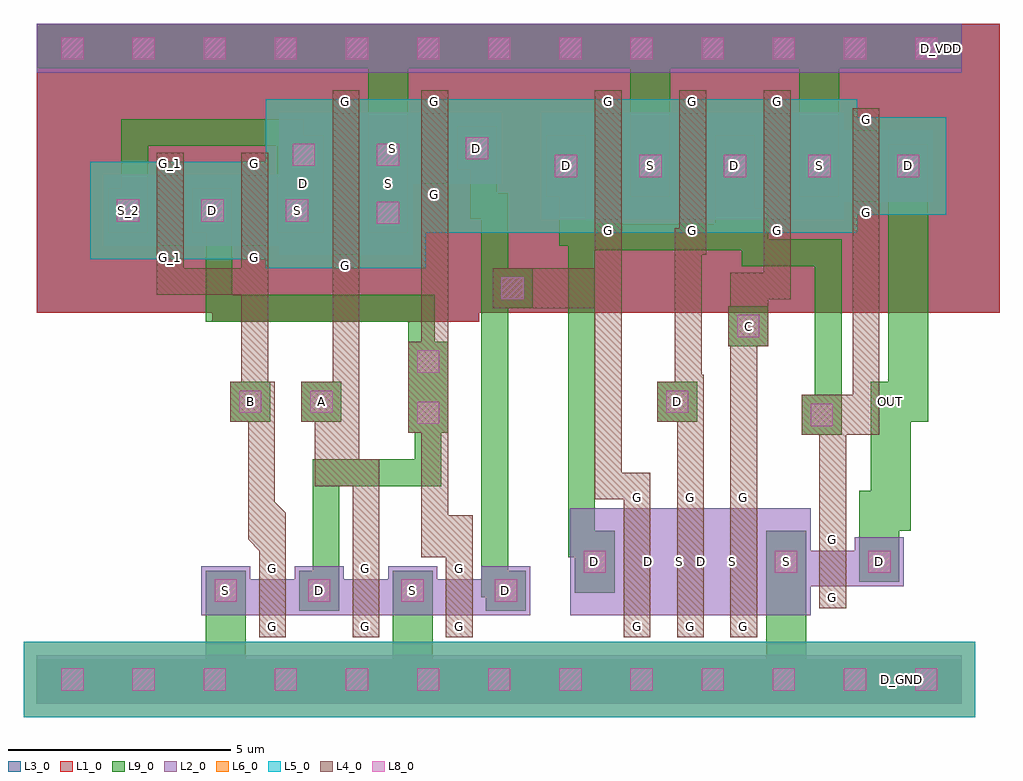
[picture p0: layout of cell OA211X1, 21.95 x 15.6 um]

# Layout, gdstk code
import gdstk
lib = gdstk.Library(unit=1e-6, precision=1e-09)
def R(c, l, rs):  # rectangles x0, y0, x1, y1
    for r in rs: c.add(gdstk.rectangle(r[:2], r[2:], *l))
def A(c, l, x, y, w, h, nx, ny, dx, dy):  # array of equal rectangles
    R(c, l, [(x+i*dx, y+j*dy, x+i*dx+w, y+j*dy+h) for i in range(nx) for j in range(ny)])
def P(c, l, *ps):  # polygons
    for p in ps: c.add(gdstk.Polygon(p, *l))
L1_0 = (1, 0)
L2_0 = (2, 0)
L3_0 = (3, 0)
L4_0 = (4, 0)
L5_0 = (5, 0)
L6_0 = (6, 0)
L8_0 = (8, 0)
L9_0 = (9, 0)

oa211x1 = lib.new_cell('OA211X1')
A(oa211x1, L1_0, 0, 8.8, 1.6, 6.5, 13, 1, 1.6, 0)
A(oa211x1, L1_0, 9.85, 9.4, 6, 5.4, 3, 1, 1.9, 0)
R(oa211x1, L1_0, [(3.95,8.6,9.95,14.8), (0,8.8,7.9,13.4), (20.8,8.8,21.65,15.3), (15.65,9.8,21.65,14.4), (5.95,10.2,11.95,14.8)])
A(oa211x1, L2_0, 0, 0, 1.6, 1.1, 13, 2, 1.6, 14.2)
A(oa211x1, L2_0, 4.8, 2, 1, 0.8, 3, 1, 2.1, 0)
A(oa211x1, L2_0, 13.1, 2, 0.8, 2.4, 3, 1, 1.2, 0)
A(oa211x1, L2_0, 1.5, 10.3, 1.1, 1.6, 3, 1, 1.9, 0)
A(oa211x1, L2_0, 12.45, 10.9, 0.8, 2.4, 3, 1, 1.9, 0)
R(oa211x1, L2_0, [(3.7,2,4.8,3.1), (5.8,2,6.9,3.1), (5.8,2,6.9,3.1), (7.9,2,9,3.1), (7.9,2,9,3.1), (10,2,11.1,3.1), (12,2,13.1,4.4), (13.2,2,14.3,4.4), (13.9,2,15,4.4), (14.4,2,15.5,4.4), (15.1,2,16.2,4.4), (16.3,2,17.4,4.4), (16.3,2.65,17.4,3.75), (17.4,2.65,18.4,3.45), (18.4,2.65,19.5,3.75), (5.45,10.1,6.55,13.3), (6.55,10.1,7.35,13.3), (7.35,10.1,8.45,13.3), (2.6,10.3,3.4,11.9), (4.5,10.3,5.3,11.9), (11.35,10.9,12.45,13.3), (13.25,10.9,14.35,13.3), (13.25,10.9,14.35,13.3), (15.15,10.9,16.25,13.3), (15.15,10.9,16.25,13.3), (17.05,10.9,18.15,13.3), (17.15,11.3,18.25,12.9), (18.25,11.3,19.05,12.9), (19.05,11.3,20.15,12.9), (7.45,11.7,8.55,13.3), (8.55,11.7,9.35,13.3), (9.35,11.7,10.45,13.3)])
A(oa211x1, L3_0, 0, 8.8, 1.6, 6.5, 13, 1, 1.6, 0)
A(oa211x1, L3_0, 9.85, 9.4, 6, 5.4, 3, 1, 1.9, 0)
R(oa211x1, L3_0, [(3.95,8.6,9.95,14.8), (0,8.8,7.9,13.4), (20.8,8.8,21.65,15.3), (15.65,9.8,21.65,14.4), (5.95,10.2,11.95,14.8)])
A(oa211x1, L4_0, 5, 1.5, 0.6, 0.5, 3, 2, 2.1, 1.3)
A(oa211x1, L4_0, 5, 1.5, 0.6, 1.8, 3, 1, 2.1, 0)
A(oa211x1, L4_0, 13.2, 1.5, 0.6, 3.4, 3, 1, 1.2, 0)
A(oa211x1, L4_0, 13.2, 1.5, 0.6, 0.5, 3, 2, 1.2, 2.9)
A(oa211x1, L4_0, 12.55, 10.4, 0.6, 3.4, 3, 1, 1.9, 0)
A(oa211x1, L4_0, 12.55, 10.4, 0.6, 0.5, 3, 2, 1.9, 2.9)
R(oa211x1, L4_0, [(17.6,2.15,18.2,2.65), (17.6,2.15,18.2,3.95), (17.6,3.45,18.2,3.95), (17.6,3.95,18.2,6.35), (6.65,5.35,7.25,9.6), (17.2,6.05,18.1,6.95), (18.1,6.05,18.35,6.95), (18.35,6.05,18.95,9.8), (8.35,6.1,9.25,7), (4.35,6.35,5.25,7.25), (5.95,6.35,6.85,7.25), (13.95,6.35,14.85,7.25), (8.35,7,8.65,7.25), (8.35,7.25,9.25,8.15), (15.55,8.05,16.45,8.95), (10.25,8.9,11.15,9.8), (11.15,8.9,12.8,9.8), (16.2,8.95,16.45,9.1), (16.35,9.3,16.95,10.55), (6.65,9.6,7.25,10.1), (6.65,9.6,7.25,13.8), (2.7,9.8,3.3,10.3), (2.7,9.8,3.3,12.4), (4.6,9.8,5.2,10.3), (4.6,9.8,5.2,12.4), (18.35,9.8,18.95,10.9), (18.35,10.8,18.95,11.3), (18.35,10.8,18.95,13.4), (8.65,11.2,9.25,11.7), (8.65,11.2,9.25,13.8), (2.7,11.9,3.3,12.4), (4.6,11.9,5.2,12.4), (18.35,12.9,18.95,13.4), (6.65,13.3,7.25,13.8), (8.65,13.3,9.25,13.8)])
P(oa211x1, L4_0, [(4.75,3.7),(5,3.45),(5,3.7)],
  [(5.6,4.3),(5.35,4.55),(5.35,4.3)],
  [(8.65,3.3),(9.8,3.3),(9.8,4.25),(9.25,4.25),(9.25,11.2),(8.65,11.2)],
  [(15.6,4.9),(16.2,4.9),(16.2,9.1),(16.95,9.1),(16.95,9.7),(15.6,9.7)],
  [(12.55,4.6),(13.8,4.6),(13.8,5.2),(13.15,5.2),(13.15,10.6),(12.55,10.6)],
  [(14.35,6.8),(14.4,6.8),(14.4,4.9),(15,4.9),(15,7.4),(14.95,7.4),(14.95,10.1),(15.05,10.1),(15.05,10.7),(14.35,10.7)],
  [(6.25,4.9),(7.1,4.9),(7.1,3.3),(7.7,3.3),(7.7,5.5),(6.85,5.5),(6.85,7.25),(6.25,7.25)],
  [(4.75,3.7),(5,3.7),(5,3.3),(5.6,3.3),(5.6,4.3),(5.35,4.3),(5.35,7.25),(4.75,7.25)],
  [(2.7,9.2),(4.6,9.2),(4.6,7.25),(5.2,7.25),(5.2,9.8),(2.7,9.8)])
A(oa211x1, L5_0, 1.6, -0.3, 1.6, 1.7, 11, 1, 1.6, 0)
A(oa211x1, L5_0, 11.05, 10.6, 3.6, 3, 3, 1, 1.9, 0)
R(oa211x1, L5_0, [(-0.3,-0.3,1.6,1.4), (19.2,-0.3,21.1,1.4), (5.15,9.8,8.75,13.6), (1.2,10,6.7,12.2), (16.85,11,20.45,13.2), (7.15,11.4,10.75,13.6)])
P(oa211x1, L5_0, [(11.05,13.6),(10.75,13.6),(10.75,11.4),(8.75,11.4),(8.75,10.6),(11.05,10.6)])
A(oa211x1, L6_0, 1.6, -0.3, 1.6, 1.7, 11, 1, 1.6, 0)
A(oa211x1, L6_0, 11.05, 10.6, 3.6, 3, 3, 1, 1.9, 0)
R(oa211x1, L6_0, [(-0.3,-0.3,1.6,1.4), (19.2,-0.3,21.1,1.4), (5.15,9.8,8.75,13.6), (1.2,10,6.7,12.2), (16.85,11,20.45,13.2), (7.15,11.4,10.75,13.6)])
P(oa211x1, L6_0, [(11.05,13.6),(10.75,13.6),(10.75,11.4),(8.75,11.4),(8.75,10.6),(11.05,10.6)])
A(oa211x1, L8_0, 0.55, 0.3, 0.5, 0.5, 13, 2, 1.6, 14.2)
A(oa211x1, L8_0, 1.8, 10.85, 0.5, 0.5, 3, 1, 1.9, 0)
R(oa211x1, L8_0, [(4,2.3,4.5,2.8), (6.1,2.3,6.6,2.8), (6.1,2.3,6.6,2.8), (8.2,2.3,8.7,2.8), (8.2,2.3,8.7,2.8), (10.3,2.3,10.8,2.8), (12.3,2.95,12.8,3.45), (16.6,2.95,17.1,3.45), (16.6,2.95,17.1,3.45), (18.7,2.95,19.2,3.45), (17.4,6.25,17.9,6.75), (8.55,6.3,9.05,6.8), (4.55,6.55,5.05,7.05), (6.15,6.55,6.65,7.05), (14.15,6.55,14.65,7.05), (8.55,7.45,9.05,7.95), (15.75,8.25,16.25,8.75), (10.45,9.1,10.95,9.6), (7.65,10.8,8.15,11.3), (11.65,11.85,12.15,12.35), (13.55,11.85,14.05,12.35), (13.55,11.85,14.05,12.35), (15.45,11.85,15.95,12.35), (15.45,11.85,15.95,12.35), (17.35,11.85,17.85,12.35), (19.35,11.85,19.85,12.35), (5.75,12.1,6.25,12.6), (7.65,12.1,8.15,12.6), (9.65,12.25,10.15,12.75)])
A(oa211x1, L9_0, 0, 0, 1.6, 1, 13, 2, 1.6, 14.3)
A(oa211x1, L9_0, 1.6, 10.6, 0.9, 1, 3, 1, 1.9, 0)
R(oa211x1, L9_0, [(3.2,0,20.8,1), (3.8,0.1,4.7,3), (8,0.1,8.9,3), (16.4,0.1,17.3,3.4), (3.8,2.1,4.7,3), (5.9,2.1,6.8,3), (5.9,2.1,6.8,3), (8,2.1,8.9,3), (8,2.1,8.9,3), (10.1,2.1,11,3), (12.1,2.5,13,3.9), (16.4,2.5,17.3,3.9), (16.4,2.75,17.3,3.65), (18.5,2.75,19.4,3.65), (17.2,6.05,18.1,6.95), (8.35,6.1,9.25,7), (4.35,6.35,5.25,7.25), (4.35,6.35,5.25,7.25), (5.95,6.35,6.85,7.25), (5.95,6.35,6.85,7.25), (13.95,6.35,14.85,7.25), (13.95,6.35,14.85,7.25), (18.75,6.35,19.65,7.25), (8.35,7,9.25,7.25), (8.35,7.25,9.25,8.15), (15.55,8.05,16.45,8.95), (15.55,8.05,16.45,8.95), (10.25,8.9,11.15,9.8), (11.95,10.2,15.85,10.8), (15.25,10.2,15.85,12), (15.85,10.55,16.15,11.4), (5.4,10.6,6.45,12.8), (7.45,10.6,8.35,12.8), (11.45,11.4,12.35,12.8), (13.35,11.4,14.25,12.8), (13.35,11.4,14.25,12.8), (15.25,11.4,16.15,12.8), (15.25,11.4,16.15,12.8), (17.15,11.4,18.05,12.8), (19.15,11.6,20.05,12.6), (7.45,11.9,8.35,15.2), (13.35,11.9,14.25,15.2), (17.15,11.9,18.05,15.2), (9.45,12,10.35,13), (3.2,14.3,20.8,15.3)])
P(oa211x1, L9_0, [(18.5,2.75),(19.4,2.75),(19.4,3.9),(19.65,3.9),(19.65,7.25),(18.75,7.25),(18.75,4.8),(18.5,4.8)],
  [(6.2,2.4),(6.8,2.4),(6.8,4.9),(9.1,4.9),(9.1,6.7),(8.5,6.7),(8.5,5.5),(6.2,5.5)],
  [(11.75,10.3),(11.95,10.3),(11.95,3.3),(12.55,3.3),(12.55,10.9),(12.35,10.9),(12.35,12),(11.75,12)],
  [(15.85,9.85),(17.5,9.85),(17.5,6.35),(18.1,6.35),(18.1,10.45),(16.45,10.45),(16.45,11.15),(15.85,11.15)],
  [(9.75,10.9),(10,10.9),(10,2.4),(10.6,2.4),(10.6,11.5),(10.35,11.5),(10.35,12.6),(9.75,12.6)],
  [(18.75,6.35),(20.05,6.35),(20.05,12.5),(19.15,12.5),(19.15,7.25),(18.75,7.25)],
  [(1.9,11),(2.5,11),(2.5,12.55),(5.4,12.55),(5.4,12.2),(6,12.2),(6,13.15),(1.9,13.15)],
  [(3.8,8.6),(8.35,8.6),(8.35,7.55),(8.95,7.55),(8.95,9.2),(4.4,9.2),(4.4,11.2),(3.8,11.2)])
oa211x1.add(gdstk.Label('G', (12.85,10.652), layer=4, texttype=0))
oa211x1.add(gdstk.Label('G', (12.85,13.552), layer=4, texttype=0))
oa211x1.add(gdstk.Label('S', (13.801,12.101), layer=9, texttype=0))
oa211x1.add(gdstk.Label('D', (11.901,12.101), layer=9, texttype=0))
oa211x1.add(gdstk.Label('G', (14.75,10.652), layer=4, texttype=0))
oa211x1.add(gdstk.Label('G', (14.75,13.552), layer=4, texttype=0))
oa211x1.add(gdstk.Label('S', (13.799,12.101), layer=9, texttype=0))
oa211x1.add(gdstk.Label('D', (15.699,12.101), layer=9, texttype=0))
oa211x1.add(gdstk.Label('G', (16.65,10.652), layer=4, texttype=0))
oa211x1.add(gdstk.Label('G', (16.65,13.552), layer=4, texttype=0))
oa211x1.add(gdstk.Label('S', (17.601,12.101), layer=9, texttype=0))
oa211x1.add(gdstk.Label('D', (15.701,12.101), layer=9, texttype=0))
oa211x1.add(gdstk.Label('G', (6.95,9.852), layer=4, texttype=0))
oa211x1.add(gdstk.Label('G', (6.95,13.552), layer=4, texttype=0))
oa211x1.add(gdstk.Label('S', (7.901,11.701), layer=9, texttype=0))
oa211x1.add(gdstk.Label('D', (6.001,11.701), layer=2, texttype=0))
oa211x1.add(gdstk.Label('G', (13.5,1.752), layer=4, texttype=0))
oa211x1.add(gdstk.Label('G', (13.5,4.652), layer=4, texttype=0))
oa211x1.add(gdstk.Label('S', (14.451,3.201), layer=2, texttype=0))
oa211x1.add(gdstk.Label('D', (12.551,3.201), layer=9, texttype=0))
oa211x1.add(gdstk.Label('G', (4.9,10.052), layer=4, texttype=0))
oa211x1.add(gdstk.Label('G', (4.9,12.152), layer=4, texttype=0))
oa211x1.add(gdstk.Label('G_1', (3,10.052), layer=4, texttype=0))
oa211x1.add(gdstk.Label('G_1', (3,12.152), layer=4, texttype=0))
oa211x1.add(gdstk.Label('S', (5.851,11.101), layer=9, texttype=0))
oa211x1.add(gdstk.Label('D', (3.951,11.101), layer=9, texttype=0))
oa211x1.add(gdstk.Label('S_2', (2.051,11.1), layer=9, texttype=0))
oa211x1.add(gdstk.Label('G', (8.95,11.452), layer=4, texttype=0))
oa211x1.add(gdstk.Label('G', (8.95,13.552), layer=4, texttype=0))
oa211x1.add(gdstk.Label('S', (7.999,12.501), layer=2, texttype=0))
oa211x1.add(gdstk.Label('D', (9.899,12.501), layer=9, texttype=0))
oa211x1.add(gdstk.Label('G', (18.65,11.052), layer=4, texttype=0))
oa211x1.add(gdstk.Label('G', (18.65,13.152), layer=4, texttype=0))
oa211x1.add(gdstk.Label('S', (17.699,12.101), layer=2, texttype=0))
oa211x1.add(gdstk.Label('D', (19.599,12.101), layer=9, texttype=0))
oa211x1.add(gdstk.Label('D', (13.751,3.201), layer=2, texttype=0))
oa211x1.add(gdstk.Label('G', (14.7,1.752), layer=4, texttype=0))
oa211x1.add(gdstk.Label('G', (14.7,4.652), layer=4, texttype=0))
oa211x1.add(gdstk.Label('S', (15.651,3.201), layer=2, texttype=0))
oa211x1.add(gdstk.Label('G', (9.5,1.752), layer=4, texttype=0))
oa211x1.add(gdstk.Label('G', (9.5,3.052), layer=4, texttype=0))
oa211x1.add(gdstk.Label('S', (8.449,2.551), layer=9, texttype=0))
oa211x1.add(gdstk.Label('D', (10.549,2.551), layer=9, texttype=0))
oa211x1.add(gdstk.Label('G', (17.9,2.402), layer=4, texttype=0))
oa211x1.add(gdstk.Label('G', (17.9,3.702), layer=4, texttype=0))
oa211x1.add(gdstk.Label('S', (16.849,3.201), layer=9, texttype=0))
oa211x1.add(gdstk.Label('D', (18.949,3.201), layer=9, texttype=0))
oa211x1.add(gdstk.Label('G', (7.4,1.752), layer=4, texttype=0))
oa211x1.add(gdstk.Label('G', (7.4,3.052), layer=4, texttype=0))
oa211x1.add(gdstk.Label('S', (8.451,2.551), layer=9, texttype=0))
oa211x1.add(gdstk.Label('D', (6.351,2.551), layer=9, texttype=0))
oa211x1.add(gdstk.Label('G', (5.3,1.752), layer=4, texttype=0))
oa211x1.add(gdstk.Label('G', (5.3,3.052), layer=4, texttype=0))
oa211x1.add(gdstk.Label('S', (4.249,2.551), layer=9, texttype=0))
oa211x1.add(gdstk.Label('D', (6.349,2.551), layer=9, texttype=0))
oa211x1.add(gdstk.Label('D', (14.951,3.201), layer=2, texttype=0))
oa211x1.add(gdstk.Label('G', (15.9,1.752), layer=4, texttype=0))
oa211x1.add(gdstk.Label('G', (15.9,4.652), layer=4, texttype=0))
oa211x1.add(gdstk.Label('S', (16.851,3.201), layer=9, texttype=0))
oa211x1.add(gdstk.Label('B', (4.8,6.8), layer=50, texttype=0))
oa211x1.add(gdstk.Label('C', (16,8.5), layer=50, texttype=0))
oa211x1.add(gdstk.Label('D', (14.4,6.8), layer=50, texttype=0))
oa211x1.add(gdstk.Label('OUT', (19.2,6.8), layer=50, texttype=0))
oa211x1.add(gdstk.Label('D_GND', (19.45,0.55), layer=50, texttype=0))
oa211x1.add(gdstk.Label('A', (6.4,6.8), layer=50, texttype=0))
oa211x1.add(gdstk.Label('D_VDD', (20.35,14.75), layer=50, texttype=0))

lib.write_gds('OA211X1.gds')
